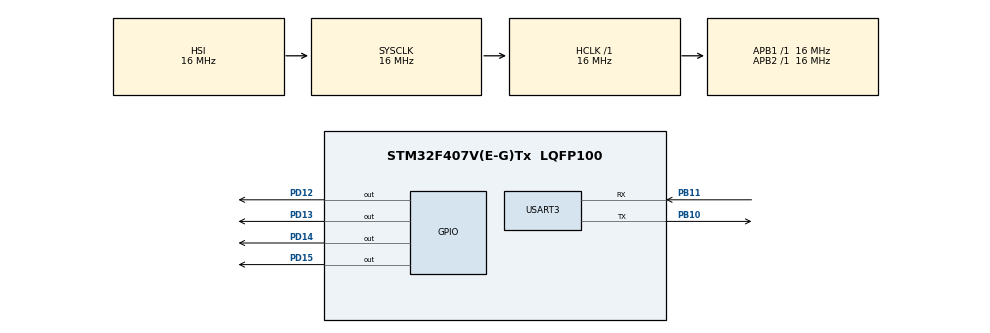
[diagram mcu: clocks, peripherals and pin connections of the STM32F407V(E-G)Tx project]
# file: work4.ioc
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Mcu.Family=STM32F4
Mcu.Name=STM32F407V(E-G)Tx
Mcu.Package=LQFP100
NVIC.PriorityGroup=NVIC_PRIORITYGROUP_4
PB10.Mode=Asynchronous
PB10.Signal=USART3_TX
PB11.Mode=Asynchronous
PB11.Signal=USART3_RX
PD12.Signal=GPIO_Output
PD13.Signal=GPIO_Output
PD14.Signal=GPIO_Output
PD15.Signal=GPIO_Output
ProjectManager.HeapSize=0x200
ProjectManager.StackSize=0x400
ProjectManager.TargetToolchain=STM32CubeIDE
RCC.AHBFreq_Value=16000000
RCC.APB1Freq_Value=16000000
RCC.APB2Freq_Value=16000000
RCC.CortexFreq_Value=16000000
RCC.HSE_VALUE=25000000
RCC.HSI_VALUE=16000000
RCC.LSE_VALUE=32768
RCC.SYSCLKFreq_VALUE=16000000
RCC.VCOOutputFreq_Value=192000000
USART3.VirtualMode=VM_ASYNC
board=custom

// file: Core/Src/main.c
/* USER CODE BEGIN Header */
/**
  ******************************************************************************
  * @file           : main.c
  * @brief          : Main program body
  ******************************************************************************
  * @attention
  *
  * Copyright (c) 2023 STMicroelectronics.
  * All rights reserved.
  *
  * This software is licensed under terms that can be found in the LICENSE file
  * in the root directory of this software component.
  * If no LICENSE file comes with this software, it is provided AS-IS.
  *
  ******************************************************************************
  */
/* USER CODE END Header */
#include "main.h"

UART_HandleTypeDef huart3;

void SystemClock_Config(void);
static void MX_GPIO_Init(void);
static void MX_USART3_UART_Init(void);

int main(void)
{

  /* MCU Configuration--------------------------------------------------------*/

  /* Reset of all peripherals, Initializes the Flash interface and the Systick. */
  HAL_Init();

  /* Configure the system clock */
  SystemClock_Config();

  /* Initialize all configured peripherals */
  MX_GPIO_Init();
  MX_USART3_UART_Init();

  /* Infinite loop */
  /* USER CODE BEGIN WHILE */
  while (1)
  {
	 uint8_t rcvBuf[1];
	 HAL_StatusTypeDef result;

	 result = HAL_UART_Receive(&huart3, rcvBuf, 1, 10);

	 if (result == HAL_OK)
	 {
		 switch (rcvBuf[0])
		 {
		 	 case '1':
		 		 HAL_GPIO_WritePin(GPIOD, GPIO_PIN_15, GPIO_PIN_SET);
		 		 HAL_UART_Transmit(&huart3, (uint8_t *)" - Blue ON\r\n", 12, 100);
		 		 break;
		 	 case '2':
		 		 HAL_GPIO_WritePin(GPIOD, GPIO_PIN_15, GPIO_PIN_RESET);
		 		 HAL_UART_Transmit(&huart3, (uint8_t *)" - Blue OFF\r\n", 13, 100);
		 		 break;
		 	 case 'q':
		 		 HAL_GPIO_WritePin(GPIOD, GPIO_PIN_14, GPIO_PIN_SET);
		 		 HAL_UART_Transmit(&huart3, (uint8_t *)" - Red ON\r\n", 11, 100);
		 		 break;
		 	 case 'w':
		 		 HAL_GPIO_WritePin(GPIOD, GPIO_PIN_14, GPIO_PIN_RESET);
		 		 HAL_UART_Transmit(&huart3, (uint8_t *)" - Red OFF\r\n", 12, 100);
		 		 break;
		 	 case 'a':
		 		 HAL_GPIO_WritePin(GPIOD, GPIO_PIN_13, GPIO_PIN_SET);
		 		 HAL_UART_Transmit(&huart3, (uint8_t *)" - Orange ON\r\n", 14, 100);
		 		 break;
		 	 case 's':
		 		 HAL_GPIO_WritePin(GPIOD, GPIO_PIN_13, GPIO_PIN_RESET);
		 		 HAL_UART_Transmit(&huart3, (uint8_t *)" - Orange OFF\r\n", 15, 100);
		 		 break;
		 	 case 'z':
		 		 HAL_GPIO_WritePin(GPIOD, GPIO_PIN_12, GPIO_PIN_SET);
		 		 HAL_UART_Transmit(&huart3, (uint8_t *)" - Green ON\r\n", 13, 100);
		 		 break;
		 	 case 'x':
		 		 HAL_GPIO_WritePin(GPIOD, GPIO_PIN_12, GPIO_PIN_RESET);
		 		 HAL_UART_Transmit(&huart3, (uint8_t *)" - Green OFF\r\n", 14, 100);
		 		 break;
		 	 case 'c':
		 		 HAL_GPIO_WritePin(GPIOD, GPIO_PIN_12, GPIO_PIN_SET);
		 		 HAL_GPIO_WritePin(GPIOD, GPIO_PIN_13, GPIO_PIN_SET);
		 		 HAL_GPIO_WritePin(GPIOD, GPIO_PIN_14, GPIO_PIN_SET);
		 		 HAL_GPIO_WritePin(GPIOD, GPIO_PIN_15, GPIO_PIN_SET);
		 		 HAL_UART_Transmit(&huart3, (uint8_t *)" - ALL DIODS ON\r\n", 17, 100);
		 		 break;
		 	 case 'v':
		 		 HAL_GPIO_WritePin(GPIOD, GPIO_PIN_12, GPIO_PIN_RESET);
		 		 HAL_GPIO_WritePin(GPIOD, GPIO_PIN_13, GPIO_PIN_RESET);
		 		 HAL_GPIO_WritePin(GPIOD, GPIO_PIN_14, GPIO_PIN_RESET);
		 		 HAL_GPIO_WritePin(GPIOD, GPIO_PIN_15, GPIO_PIN_RESET);
		 		 HAL_UART_Transmit(&huart3, (uint8_t *)" - ALL DIODS OFF\r\n", 18, 100);
		 		 break;
		 	 default:
		 		 HAL_UART_Transmit(&huart3, (uint8_t *)" - UnexpCmd\r\n", 13, 100);
		 		 break;

		 }

	 }

    /* USER CODE END WHILE */

  }
}

void SystemClock_Config(void)
{
  RCC_OscInitTypeDef RCC_OscInitStruct = {0};
  RCC_ClkInitTypeDef RCC_ClkInitStruct = {0};

  /** Configure the main internal regulator output voltage
  */
  __HAL_RCC_PWR_CLK_ENABLE();
  __HAL_PWR_VOLTAGESCALING_CONFIG(PWR_REGULATOR_VOLTAGE_SCALE1);

  /** Initializes the RCC Oscillators according to the specified parameters
  * in the RCC_OscInitTypeDef structure.
  */
  RCC_OscInitStruct.OscillatorType = RCC_OSCILLATORTYPE_HSI;
  RCC_OscInitStruct.HSIState = RCC_HSI_ON;
  RCC_OscInitStruct.HSICalibrationValue = RCC_HSICALIBRATION_DEFAULT;
  RCC_OscInitStruct.PLL.PLLState = RCC_PLL_NONE;
  if (HAL_RCC_OscConfig(&RCC_OscInitStruct) != HAL_OK)
  {
    Error_Handler();
  }

  /** Initializes the CPU, AHB and APB buses clocks
  */
  RCC_ClkInitStruct.ClockType = RCC_CLOCKTYPE_HCLK|RCC_CLOCKTYPE_SYSCLK
                              |RCC_CLOCKTYPE_PCLK1|RCC_CLOCKTYPE_PCLK2;
  RCC_ClkInitStruct.SYSCLKSource = RCC_SYSCLKSOURCE_HSI;
  RCC_ClkInitStruct.AHBCLKDivider = RCC_SYSCLK_DIV1;
  RCC_ClkInitStruct.APB1CLKDivider = RCC_HCLK_DIV1;
  RCC_ClkInitStruct.APB2CLKDivider = RCC_HCLK_DIV1;

  if (HAL_RCC_ClockConfig(&RCC_ClkInitStruct, FLASH_LATENCY_0) != HAL_OK)
  {
    Error_Handler();
  }
}

static void MX_USART3_UART_Init(void)
{

  huart3.Instance = USART3;
  huart3.Init.BaudRate = 115200;
  huart3.Init.WordLength = UART_WORDLENGTH_8B;
  huart3.Init.StopBits = UART_STOPBITS_1;
  huart3.Init.Parity = UART_PARITY_NONE;
  huart3.Init.Mode = UART_MODE_TX_RX;
  huart3.Init.HwFlowCtl = UART_HWCONTROL_NONE;
  huart3.Init.OverSampling = UART_OVERSAMPLING_16;
  if (HAL_UART_Init(&huart3) != HAL_OK)
  {
    Error_Handler();
  }

}

static void MX_GPIO_Init(void)
{
  GPIO_InitTypeDef GPIO_InitStruct = {0};

  /* GPIO Ports Clock Enable */
  __HAL_RCC_GPIOB_CLK_ENABLE();
  __HAL_RCC_GPIOD_CLK_ENABLE();

  /*Configure GPIO pin Output Level */
  HAL_GPIO_WritePin(GPIOD, GPIO_PIN_12|GPIO_PIN_13|GPIO_PIN_14|GPIO_PIN_15, GPIO_PIN_RESET);

  /*Configure GPIO pins : PD12 PD13 PD14 PD15 */
  GPIO_InitStruct.Pin = GPIO_PIN_12|GPIO_PIN_13|GPIO_PIN_14|GPIO_PIN_15;
  GPIO_InitStruct.Mode = GPIO_MODE_OUTPUT_PP;
  GPIO_InitStruct.Pull = GPIO_NOPULL;
  GPIO_InitStruct.Speed = GPIO_SPEED_FREQ_LOW;
  HAL_GPIO_Init(GPIOD, &GPIO_InitStruct);

}

void Error_Handler(void)
{
  __disable_irq();
  while (1)
  {
  }
}
